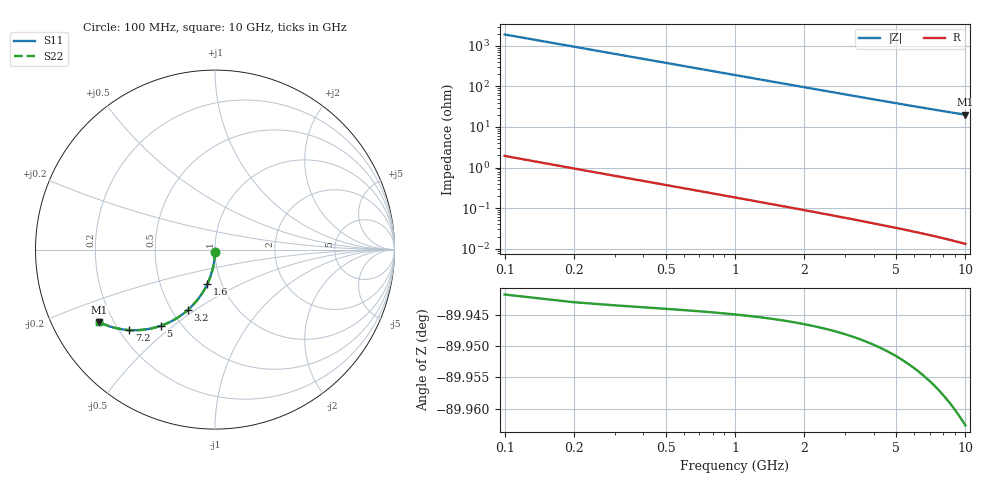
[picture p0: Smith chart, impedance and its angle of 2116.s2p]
# Hz S RI R 50.00
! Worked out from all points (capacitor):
!   100 points, 100 MHz to 10 GHz, reference 50 ohm
!   read as one part in shunt: C = 832 fF near 100 MHz
!   lowest |Z| = 20.2 ohm at 10 GHz (marker M1)
!   S11 on the Smith chart (normalised r, x): 100 MHz: 1.00, -0.02; 1.6 GHz: 0.86, -0.34; 3.2 GHz: 0.60, -0.47; 5 GHz: 0.39, -0.45; 7.2 GHz: 0.24, -0.38; 10 GHz: 0.15, -0.28
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1e8  6.74e-05 -0.0124  0.9996 -0.0138  0.9996 -0.0138  6.74e-05 -0.0124
2e8  -0.000454 -0.0247  0.999 -0.0275  0.999 -0.0275  -0.000454 -0.0247
3e8  -0.00132 -0.0371  0.9982 -0.0412  0.9982 -0.0412  -0.00132 -0.0371
4e8  -0.00252 -0.0494  0.997 -0.0549  0.997 -0.0549  -0.00252 -0.0494
5e8  -0.00405 -0.0616  0.9954 -0.0685  0.9954 -0.0685  -0.00405 -0.0616
6e8  -0.00592 -0.0738  0.9935 -0.0821  0.9935 -0.0821  -0.00592 -0.0738
7e8  -0.00811 -0.0859  0.9913 -0.0956  0.9913 -0.0956  -0.00811 -0.0859
9e8  -0.0135 -0.1098  0.9859 -0.1223  0.9859 -0.1223  -0.0135 -0.1098
1.2e9  -0.0239 -0.1449  0.9755 -0.1615  0.9755 -0.1615  -0.0239 -0.1449
1.6e9  -0.0418 -0.1895  0.9574 -0.2116  0.9574 -0.2116  -0.0418 -0.1895
1.8e9  -0.0524 -0.2107  0.9468 -0.2356  0.9468 -0.2356  -0.0524 -0.2107
2.4e9  -0.0898 -0.2695  0.9091 -0.3028  0.9091 -0.3028  -0.0898 -0.2695
3.2e9  -0.1497 -0.3348  0.8488 -0.3792  0.8488 -0.3792  -0.1497 -0.3348
3.4e9  -0.1659 -0.3486  0.8324 -0.3958  0.8324 -0.3958  -0.1659 -0.3486
4.1e9  -0.225 -0.3893  0.7728 -0.4463  0.7728 -0.4463  -0.225 -0.3893
5e9  -0.3027 -0.4246  0.6943 -0.4945  0.6943 -0.4945  -0.3027 -0.4246
5.1e9  -0.3113 -0.4275  0.6856 -0.4988  0.6856 -0.4988  -0.3113 -0.4275
5.9e9  -0.3782 -0.4435  0.6178 -0.5263  0.6178 -0.5263  -0.3782 -0.4435
6.7e9  -0.4411 -0.4491  0.5539 -0.5434  0.5539 -0.5434  -0.4411 -0.4491
7.2e9  -0.4778 -0.4483  0.5165 -0.5499  0.5165 -0.5499  -0.4778 -0.4483
8.4e9  -0.557 -0.436  0.4352 -0.5554  0.4352 -0.5554  -0.557 -0.436
1e10  -0.6436 -0.4049  0.3454 -0.5485  0.3454 -0.5485  -0.6436 -0.4049
